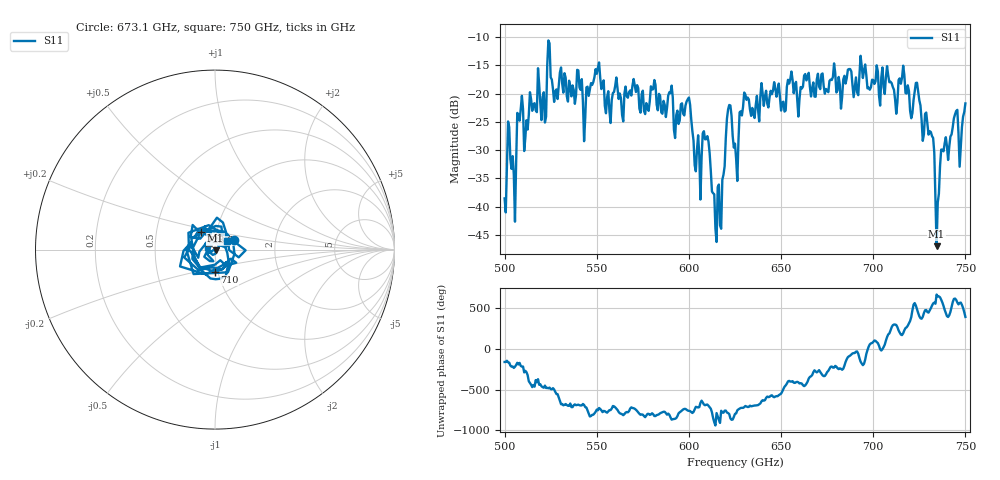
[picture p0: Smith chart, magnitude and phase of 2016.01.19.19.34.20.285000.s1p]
!Created with skrf (http://scikit-rf.org).
# GHz S RI R 50.0
!freq ReS11 ImS11
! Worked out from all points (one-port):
!   401 points, 500 GHz to 750 GHz, reference 50 ohm
!   lowest |S11| = -47.0 dB at 734.4 GHz (marker M1), VSWR 1.01, Z = 50.3 - j0.337 ohm
!   |S11| at or under -10 dB: start of sweep to end of sweep
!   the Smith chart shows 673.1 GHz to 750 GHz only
!   S11 on the Smith chart (normalised r, x): 673.1 GHz: 1.23, +0.13; 710 GHz: 0.97, -0.24; 723.8 GHz: 0.84, +0.16; 750 GHz: 1.14, +0.11
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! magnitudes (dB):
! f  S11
! 500 GHz  -38.6
! 502.5 GHz  -25.9
! 505 GHz  -34.4
! 508.1 GHz  -24.8
! 521.2 GHz  -19.8
! 524.4 GHz  -11.1
! 527.5 GHz  -19.6
! 531.2 GHz  -18.2
! 562.5 GHz  -20.0
! 590 GHz  -19.9
! 593.8 GHz  -23.0
! 599.4 GHz  -21.0
! 605 GHz  -27.4
! 609.4 GHz  -28.1
! 615.6 GHz  -36.5
! 621.9 GHz  -22.0
! 625 GHz  -28.9
! 631.2 GHz  -21.1
! 656.2 GHz  -17.6
! 673.1 GHz  -18.7
! 687.5 GHz  -15.7
! 710 GHz  -18.2
! 718.8 GHz  -18.5
! 723.8 GHz  -18.1
! 731.9 GHz  -27.5
! 734.4 GHz  -47.0
! 738.1 GHz  -30.2
! 750 GHz  -21.7
